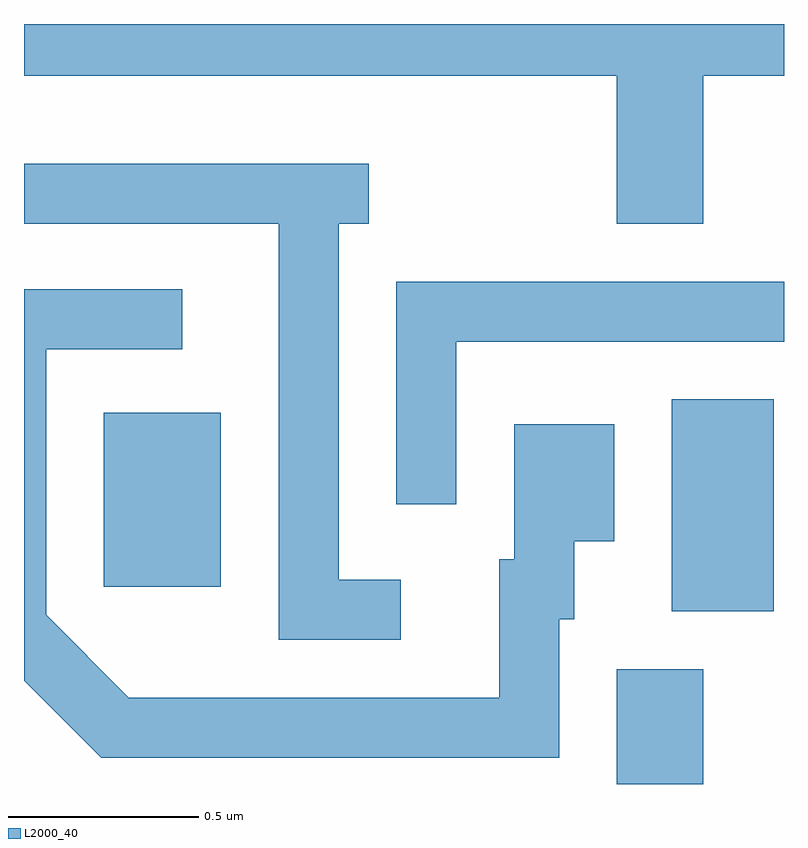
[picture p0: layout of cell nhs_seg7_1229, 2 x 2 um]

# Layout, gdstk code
import gdstk
lib = gdstk.Library(unit=1e-6, precision=1e-09)
def R(c, l, rs):  # rectangles x0, y0, x1, y1
    for r in rs: c.add(gdstk.rectangle(r[:2], r[2:], *l))
def P(c, l, *ps):  # polygons
    for p in ps: c.add(gdstk.Polygon(p, *l))
L2000_40 = (2000, 40)

nhs_seg7_1229 = lib.new_cell('nhs_seg7_1229')
R(nhs_seg7_1229, L2000_40, [(195.171,1801.252,195.399,1801.554), (195.316,1801.706,195.584,1802.264), (193.821,1801.771,194.129,1802.229)])
P(nhs_seg7_1229, L2000_40, [(195.399,1803.116),(195.611,1803.116),(195.611,1803.252),(193.611,1803.252),(193.611,1803.116),(195.171,1803.116),(195.171,1802.726),(195.399,1802.726)],
  [(194.603,1801.789),(194.439,1801.789),(194.439,1802.726),(194.518,1802.726),(194.518,1802.884),(193.611,1802.884),(193.611,1802.726),(194.281,1802.726),(194.281,1801.631),(194.603,1801.631)],
  [(194.749,1802.416),(195.611,1802.416),(195.611,1802.574),(194.591,1802.574),(194.591,1801.988),(194.749,1801.988)],
  [(195.019,1801.686),(195.059,1801.686),(195.059,1801.891),(195.164,1801.891),(195.164,1802.199),(194.901,1802.199),(194.901,1801.844),(194.861,1801.844),(194.861,1801.479),(193.887,1801.479),(193.669,1801.697),(193.669,1802.396),(194.028,1802.396),(194.028,1802.554),(193.611,1802.554),(193.611,1801.524),(193.814,1801.321),(195.019,1801.321)])

lib.write_gds('nhs_seg7_1229.gds')
